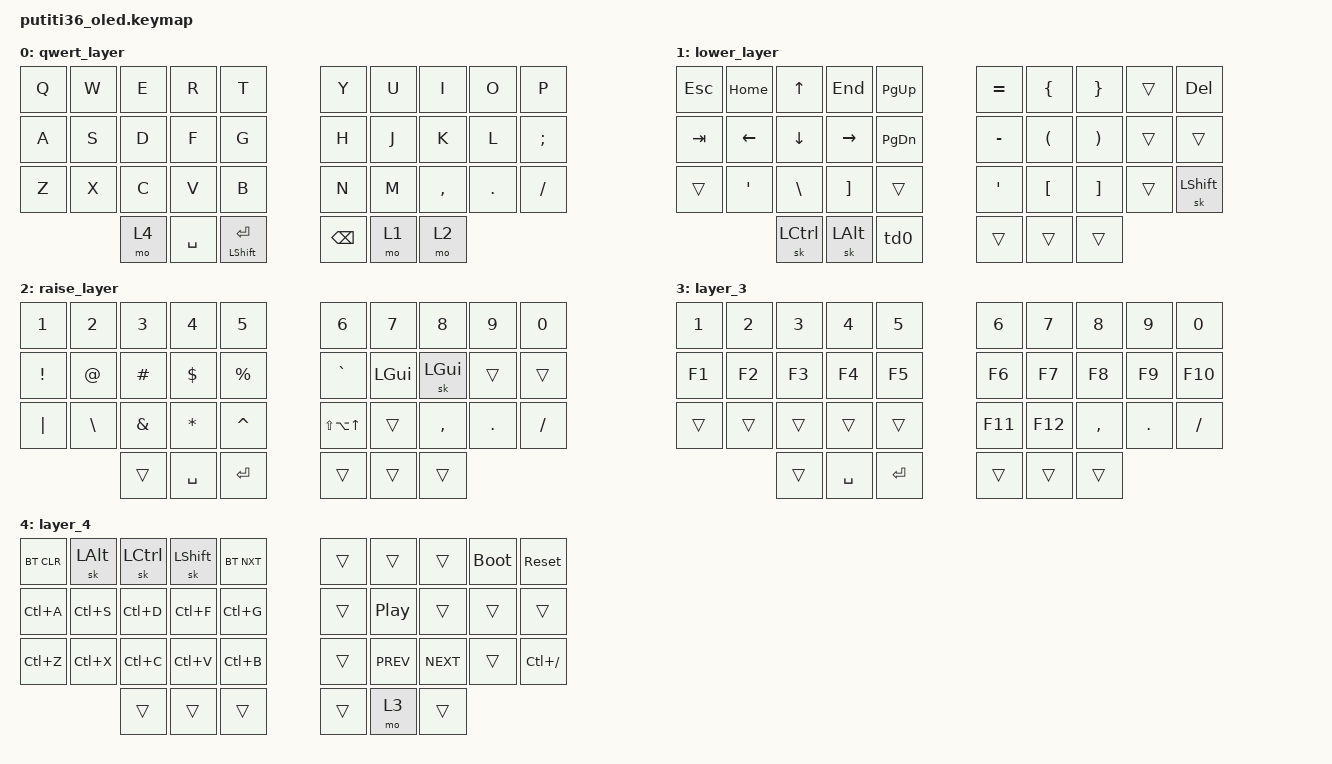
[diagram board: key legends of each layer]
#include <behaviors.dtsi>
#include <dt-bindings/zmk/bt.h>
#include <dt-bindings/zmk/keys.h>

#define DEFAULT 0
#define LOWER 1
#define RAISE 2
#define TOGGLE 3
#define L4 4
#define MAC 5
#define MAC_LOWER 6
#define MAC_RAISE 7
#define MAC_L4

&lt {
        flavor = "balanced";
        tapping-term-ms = <150>;
};

/ {
        behaviors {
                td0: tap_dance_0 {
                        compatible = "zmk,behavior-tap-dance";
                        label = "TAP_DANCE_0";
                        #binding-cells = <0>;
                        tapping-term-ms = <200>;
                        bindings = <&kp LSHIFT>, <&kp CAPS>;
                };
                mo_tog: behavior_mo_tog {
                        compatible = "zmk,behavior-hold-tap";
                        label = "mo_tog";
                        flavor = "hold-preferred";
                        #binding-cells = <2>;
                        tapping-term-ms = <200>;
                        bindings = <&mo>, <&tog>;
                };        
        };


	keymap {
		compatible = "zmk,keymap";

		qwert_layer {
			bindings = <
                   &kp Q   &kp W   &kp E   &kp R    &kp T                 &kp Y    &kp U   &kp I        &kp O      &kp P
                   &kp A   &kp S   &kp D   &kp F    &kp G                 &kp H    &kp J   &kp K        &kp L      &kp SEMI
                   &kp Z   &kp X   &kp C   &kp V    &kp B                 &kp N    &kp M   &kp COMMA    &kp DOT    &kp FSLH
		        &mo 4    &kp SPACE     &mt LSHFT ENTER          &kp BSPC   &mo 1     &mo 2
			>;
		};

		lower_layer {
			bindings = <
                &kp ESC    &kp HOME      &kp UP       &kp END       &kp PG_UP               &kp EQUAL   &kp LBRC   &kp RBRC    &trans    &kp DEL    
                &kp TAB    &kp LEFT      &kp DOWN     &kp RIGHT     &kp PAGE_DOWN           &kp MINUS   &kp LPAR   &kp RPAR    &trans    &trans     
                &trans     &kp SQT       &kp BSLH     &kp RBKT      &trans                  &kp SQT     &kp LBKT   &kp RBKT    &trans    &sk LSHFT 
                                         &sk LCTRL    &sk LALT      &td0                    &trans     &trans   &trans 
                        >; 
                };

		raise_layer {
			bindings = <
                &kp N1     &kp N2      &kp N3     &kp N4     &kp N5            &kp N6          &kp N7      &kp N8      &kp N9      &kp N0
                &kp EXCL   &kp AT      &kp HASH   &kp DLLR   &kp PRCNT         &kp GRAVE       &kp LGUI    &sk LGUI    &trans      &trans  
                &kp PIPE   &kp BSLH    &kp AMPS   &kp STAR   &kp CARET         &kp LS(LA(UP))  &trans      &kp COMMA   &kp DOT     &kp FSLH  
                                       &trans     &kp SPACE  &kp ENTER         &trans     &trans     &trans
                        >;
		};

		layer_3 {
			bindings = <
                &kp N1    &kp N2   &kp N3  &kp N4    &kp N5            &kp N6    &kp N7     &kp N8    &kp N9   &kp N0
                &kp F1    &kp F2   &kp F3  &kp F4    &kp F5            &kp F6    &kp F7     &kp F8    &kp F9   &kp F10
                &trans    &trans   &trans  &trans    &trans            &kp F11   &kp F12    &kp COMMA  &kp DOT  &kp FSLH
                                 &trans  &kp SPACE &kp ENTER           &trans   &trans     &trans
                        >;
                };

                layer_4 {
			bindings = <
                &bt BT_CLR  &sk LALT    &sk LCTRL   &sk LSHFT   &bt BT_NXT         &trans    &trans      &trans      &bootloader   &sys_reset  
                &kp LC(A)   &kp LC(S)   &kp LC(D)   &kp LC(F)   &kp LC(G)          &trans    &kp C_PP    &trans      &trans        &trans      
                &kp LC(Z)   &kp LC(X)   &kp LC(C)   &kp LC(V)   &kp LC(B)          &trans    &kp C_PREV  &kp C_NEXT  &trans        &kp LC(FSLH)
                                                  &trans   &trans  &trans          &trans   &mo 3    &trans
                        >;
                };
        };
};



/*
qwert_layer {
			bindings = <
                   &kp Q   &kp W   &kp E   &kp R    &kp T                 &kp Y    &kp U   &kp I        &kp O      &kp P
                   &kp A   &kp S   &kp D   &kp F    &kp G                 &kp H    &kp J   &kp K        &kp L      &kp SEMI
                   &kp Z   &kp X   &kp C   &kp V    &kp B                 &kp N    &kp M   &kp COMMA    &kp DOT    &kp FSLH
		   &mo_tog 4 3    &kp SPACE     &mt LSHFT ENTER           &kp BSPC   &mo 1     &mo 2
			>;
		};

		lower_layer {
			bindings = <
                &kp ESC    &kp HOME      &kp UP     &kp END      &kp PG_UP            &kp EQUAL   &kp LBRC   &kp RBRC    &trans    &kp DEL    
                &kp TAB    &kp LEFT      &kp DOWN   &kp RIGHT    &kp PAGE_DOWN        &kp MINUS   &kp LPAR   &kp RPAR    &trans    &trans     
                &trans     &kp SQT       &kp BSLH   &kp RBKT     &trans               &kp SQT     &kp LBKT   &kp RBKT    &trans    &sk LSHFT 
                                     &sk LALT   &kp LALT    &td0                      &trans     &trans   &trans 
                        >;
                };

		raise_layer {
			bindings = <
                &kp N1     &kp N2      &kp N3     &kp N4    &kp N5            &kp N6          &kp N7      &kp N8      &kp N9      &kp N0
                &kp EXCL   &kp AT      &kp HASH   &kp DLLR  &kp PRCNT         &kp GRAVE       &kp LGUI    &sk LGUI    &trans      &trans  
                &kp PIPE   &kp BSLH    &kp AMPS   &kp STAR  &kp CARET         &kp LS(LA(UP))  &trans      &kp COMMA   &kp DOT     &kp FSLH  
                                     &trans     &kp SPACE   &kp ENTER         &trans     &trans     &trans
                        >;
		};

		toggle_l {
			bindings = <
                &kp N1    &kp N2   &kp N3  &kp N4    &kp N5            &kp N6    &kp N7     &kp N8    &kp N9   &kp N0
                &kp F1    &kp F2   &kp F3  &kp F4    &kp F5            &kp F6    &kp F7     &kp F8    &kp F9   &kp F10
                &trans    &trans   &trans  &trans    &trans            &kp F11   &kp F12    &kp COMMA  &kp DOT  &kp FSLH
                                 &trans  &kp SPACE &kp ENTER           &trans   &trans     &trans
                        >;
                };

                layer_4 {
			bindings = <
                &bt BT_CLR  &sk LALT    &sk LCTRL   &sk LSHFT   &bt BT_NXT         &trans    &trans      &trans      &trans   &trans  
                &kp LC(A)   &kp LC(S)   &kp LC(D)   &kp LC(F)   &kp LC(G)          &trans    &kp C_PP    &trans      &trans   &trans      
                &kp LC(Z)   &kp LC(X)   &kp LC(C)   &kp LC(V)   &kp LC(B)          &trans    &kp C_PREV  &kp C_NEXT  &trans   &kp LC(FSLH)
                                                  &trans   &trans  &trans          &trans   &trans    &trans
                        >;
                };

*/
